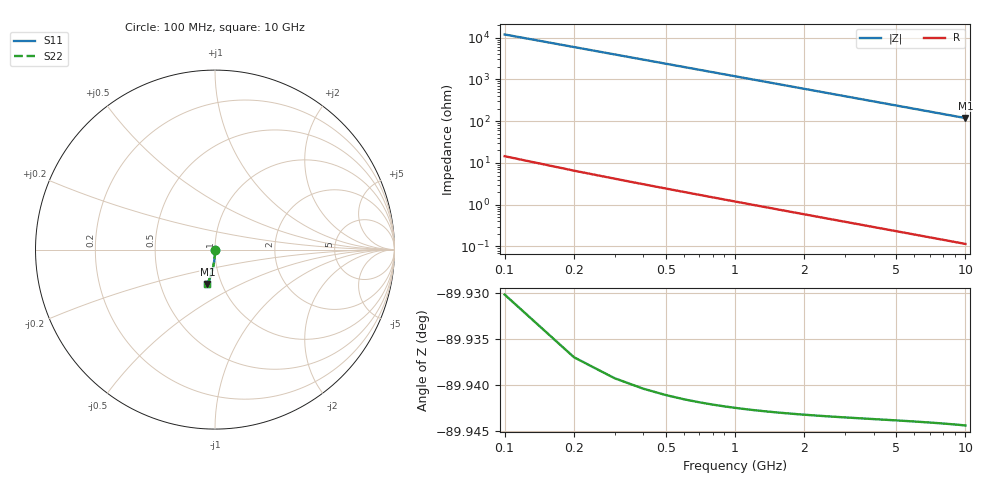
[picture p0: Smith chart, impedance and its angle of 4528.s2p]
# Hz S RI R 50.00
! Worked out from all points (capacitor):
!   100 points, 100 MHz to 10 GHz, reference 50 ohm
!   read as one part in shunt: C = 134 fF near 100 MHz
!   lowest |Z| = 119 ohm at 10 GHz (marker M1)
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1e8  6.87e-05 -0.002  0.9999 -0.00221  0.9999 -0.00221  6.87e-05 -0.002
2e8  5.39e-05 -0.004  0.9999 -0.00441  0.9999 -0.00441  5.39e-05 -0.004
3e8  3.01e-05 -0.00601  0.9999 -0.00662  0.9999 -0.00662  3.01e-05 -0.00601
4e8  -2.56e-06 -0.00801  0.9998 -0.00882  0.9998 -0.00882  -2.56e-06 -0.00801
5e8  -4.41e-05 -0.01  0.9998 -0.011  0.9998 -0.011  -4.41e-05 -0.01
6e8  -9.45e-05 -0.012  0.9998 -0.0132  0.9998 -0.0132  -9.45e-05 -0.012
7e8  -0.000154 -0.014  0.9997 -0.0154  0.9997 -0.0154  -0.000154 -0.014
8e8  -0.000222 -0.016  0.9996 -0.0176  0.9996 -0.0176  -0.000222 -0.016
9e8  -0.000299 -0.018  0.9995 -0.0198  0.9995 -0.0198  -0.000299 -0.018
1.1e9  -0.000479 -0.022  0.9994 -0.0243  0.9994 -0.0243  -0.000479 -0.022
1.4e9  -0.000816 -0.028  0.999 -0.0309  0.999 -0.0309  -0.000816 -0.028
1.8e9  -0.00139 -0.036  0.9984 -0.0397  0.9984 -0.0397  -0.00139 -0.036
2.1e9  -0.00191 -0.042  0.9979 -0.0463  0.9979 -0.0463  -0.00191 -0.042
2.5e9  -0.00273 -0.0499  0.9971 -0.055  0.9971 -0.055  -0.00273 -0.0499
2.9e9  -0.00368 -0.0579  0.9961 -0.0638  0.9961 -0.0638  -0.00368 -0.0579
3.4e9  -0.00508 -0.0677  0.9947 -0.0747  0.9947 -0.0747  -0.00508 -0.0677
4.2e9  -0.00775 -0.0835  0.992 -0.0921  0.992 -0.0921  -0.00775 -0.0835
5.1e9  -0.0114 -0.101  0.9884 -0.1115  0.9884 -0.1115  -0.0114 -0.101
5.9e9  -0.0152 -0.1164  0.9845 -0.1285  0.9845 -0.1285  -0.0152 -0.1164
6.7e9  -0.0196 -0.1317  0.9802 -0.1454  0.9802 -0.1454  -0.0196 -0.1317
8.4e9  -0.0305 -0.1633  0.9692 -0.1805  0.9692 -0.1805  -0.0305 -0.1633
1e10  -0.0428 -0.192  0.9569 -0.2125  0.9569 -0.2125  -0.0428 -0.192
